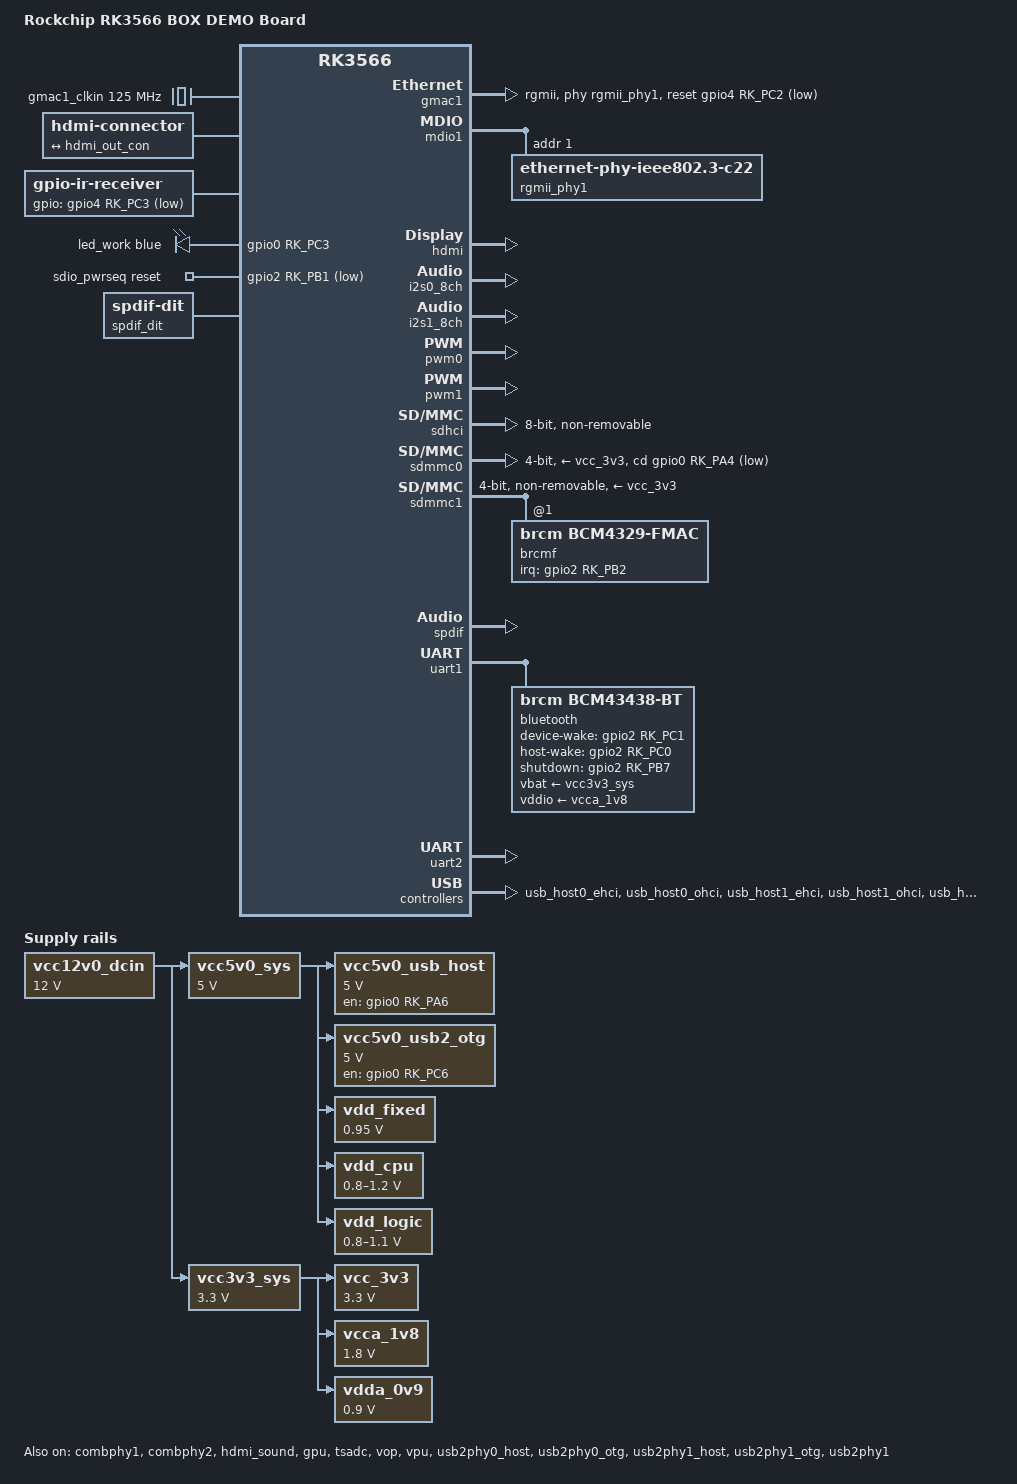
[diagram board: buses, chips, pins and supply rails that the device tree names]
// SPDX-License-Identifier: (GPL-2.0+ OR MIT)

/*
 * Author: Piotr Oniszczuk piotr.oniszczuk@gmail.com
 * Based on Quartz64 DT by: Peter Geis pgwipeout@gmail.com
 */

/dts-v1/;

#include <dt-bindings/gpio/gpio.h>
#include <dt-bindings/leds/common.h>
#include <dt-bindings/pinctrl/rockchip.h>
#include <dt-bindings/soc/rockchip,vop2.h>
#include "rk3566.dtsi"

/ {
	model = "Rockchip RK3566 BOX DEMO Board";
	compatible = "rockchip,rk3566-box-demo", "rockchip,rk3566";

	aliases {
		ethernet0 = &gmac1;
		mmc0 = &sdmmc0;
		mmc1 = &sdmmc1;
		mmc2 = &sdhci;
	};

	chosen: chosen {
		stdout-path = "serial2:1500000n8";
	};

	gmac1_clkin: external-gmac1-clock {
		compatible = "fixed-clock";
		clock-frequency = <125000000>;
		clock-output-names = "gmac1_clkin";
		#clock-cells = <0>;
	};

	hdmi-con {
		compatible = "hdmi-connector";
		type = "a";

		port {
			hdmi_con_in: endpoint {
				remote-endpoint = <&hdmi_out_con>;
			};
		};
	};

	ir-receiver {
		compatible = "gpio-ir-receiver";
		gpios = <&gpio4 RK_PC3 GPIO_ACTIVE_LOW>;
		pinctrl-0 = <&ir_int>;
		linux,rc-map-name = "rc-beelink-gs1";
		status = "okay";
	};

	leds {
		compatible = "gpio-leds";

		led_work: led-0 {
			gpios = <&gpio0 RK_PC3 GPIO_ACTIVE_HIGH>;
			function = LED_FUNCTION_HEARTBEAT;
			color = <LED_COLOR_ID_BLUE>;
			linux,default-trigger = "heartbeat";
			pinctrl-names = "default";
			pinctrl-0 = <&led_work_en>;
		};
	};

	sdio_pwrseq: sdio-pwrseq {
		status = "okay";
		compatible = "mmc-pwrseq-simple";
		clocks = <&pmucru CLK_RTC_32K>;
		clock-names = "ext_clock";
		pinctrl-names = "default";
		pinctrl-0 = <&wifi_enable_h &wifi_32k>;
		reset-gpios = <&gpio2 RK_PB1 GPIO_ACTIVE_LOW>;
	};

	spdif_dit: spdif-dit {
		compatible = "linux,spdif-dit";
		#sound-dai-cells = <0>;
	};

	spdif_sound: spdif-sound {
		compatible = "simple-audio-card";
		simple-audio-card,name = "SPDIF";

		simple-audio-card,cpu {
			sound-dai = <&spdif>;
		};

		simple-audio-card,codec {
			sound-dai = <&spdif_dit>;
		};
	};

	vcc12v0_dcin: regulator-vcc12v0-dcin {
		compatible = "regulator-fixed";
		regulator-name = "vcc12v0_dcin";
		regulator-always-on;
		regulator-boot-on;
		regulator-min-microvolt = <12000000>;
		regulator-max-microvolt = <12000000>;
	};

	vcc5v0_sys: regulator-vcc5v0-sys {
		compatible = "regulator-fixed";
		regulator-name = "vcc5v0_sys";
		regulator-always-on;
		regulator-boot-on;
		regulator-min-microvolt = <5000000>;
		regulator-max-microvolt = <5000000>;
		vin-supply = <&vcc12v0_dcin>;
	};

	vcc3v3_sys: regulator-vcc3v3-sys {
		compatible = "regulator-fixed";
		regulator-name = "vcc3v3_sys";
		regulator-always-on;
		regulator-boot-on;
		regulator-min-microvolt = <3300000>;
		regulator-max-microvolt = <3300000>;
		vin-supply = <&vcc12v0_dcin>;
	};

	vcc_3v3: regulator-vcc-3v3 {
		compatible = "regulator-fixed";
		regulator-name = "vcc_3v3";
		regulator-always-on;
		regulator-boot-on;
		regulator-min-microvolt = <3300000>;
		regulator-max-microvolt = <3300000>;
		vin-supply = <&vcc3v3_sys>;
	};

	vcc5v0_usb_host: regulator-vcc5v0-usb-host {
		compatible = "regulator-fixed";
		enable-active-high;
		gpio = <&gpio0 RK_PA6 GPIO_ACTIVE_HIGH>;
		pinctrl-names = "default";
		pinctrl-0 = <&vcc5v0_usb_host_en>;
		regulator-name = "vcc5v0_usb_host";
		regulator-min-microvolt = <5000000>;
		regulator-max-microvolt = <5000000>;
		vin-supply = <&vcc5v0_sys>;
	};

	vcc5v0_usb2_otg: regulator-vcc5v0-usb2-otg {
		compatible = "regulator-fixed";
		enable-active-high;
		gpio = <&gpio0 RK_PC6 GPIO_ACTIVE_HIGH>;
		pinctrl-names = "default";
		pinctrl-0 = <&vcc5v0_usb2_otg_en>;
		regulator-name = "vcc5v0_usb_otg";
		regulator-min-microvolt = <5000000>;
		regulator-max-microvolt = <5000000>;
		vin-supply = <&vcc5v0_sys>;
	};

	vcca_1v8: regulator-vcca-1v8 {
		compatible = "regulator-fixed";
		regulator-name = "vcca_1v8";
		regulator-always-on;
		regulator-boot-on;
		regulator-min-microvolt = <1800000>;
		regulator-max-microvolt = <1800000>;
		vin-supply = <&vcc3v3_sys>;
	};

	vdda_0v9: regulator-vdda-0v9 {
		compatible = "regulator-fixed";
		regulator-name = "vdda_0v9";
		regulator-always-on;
		regulator-boot-on;
		regulator-min-microvolt = <900000>;
		regulator-max-microvolt = <900000>;
		vin-supply = <&vcc3v3_sys>;
	};

	vdd_fixed: regulator-vdd-fixed {
		compatible = "regulator-fixed";
		regulator-name = "vdd_fixed";
		regulator-min-microvolt = <950000>;
		regulator-max-microvolt = <950000>;
		regulator-always-on;
		regulator-boot-on;
		vin-supply = <&vcc5v0_sys>;
	};

	vdd_cpu: regulator-vdd-cpu {
		compatible = "pwm-regulator";
		pwms = <&pwm0 0 5000 1>;
		regulator-name = "vdd_cpu";
		regulator-min-microvolt = <800000>;
		regulator-max-microvolt = <1200000>;
		regulator-always-on;
		regulator-boot-on;
		regulator-settling-time-up-us = <250>;
		pwm-supply = <&vcc5v0_sys>;
	};

	vdd_logic: regulator-vdd-logic {
		compatible = "pwm-regulator";
		pwms = <&pwm1 0 5000 1>;
		regulator-name = "vdd_logic";
		regulator-min-microvolt = <800000>;
		regulator-max-microvolt = <1100000>;
		regulator-always-on;
		regulator-boot-on;
		regulator-settling-time-up-us = <250>;
		pwm-supply = <&vcc5v0_sys>;
	};
};

&combphy1 {
	status = "okay";
};

&combphy2 {
	status = "okay";
};

&cpu0 {
	cpu-supply = <&vdd_cpu>;
};

&cpu1 {
	cpu-supply = <&vdd_cpu>;
};

&cpu2 {
	cpu-supply = <&vdd_cpu>;
};

&cpu3 {
	cpu-supply = <&vdd_cpu>;
};

&gmac1 {
	assigned-clocks = <&cru SCLK_GMAC1_RX_TX>, <&cru SCLK_GMAC1>;
	assigned-clock-parents =  <&cru SCLK_GMAC1_RGMII_SPEED>, <&gmac1_clkin>;
	phy-mode = "rgmii";
	clock_in_out = "input";
	pinctrl-names = "default";
	pinctrl-0 = <&gmac1m1_miim
		    &gmac1m1_tx_bus2
		    &gmac1m1_rx_bus2
		    &gmac1m1_rgmii_clk
		    &gmac1m1_rgmii_bus
		    &gmac1m1_clkinout>;
	snps,reset-gpio = <&gpio4 RK_PC2 GPIO_ACTIVE_LOW>;
	snps,reset-active-low;
	/* Reset time is 20ms, 100ms for rtl8211f */
	snps,reset-delays-us = <0 20000 100000>;

	tx_delay = <0x4f>;
	rx_delay = <0x2d>;
	phy-handle = <&rgmii_phy1>;
	status = "okay";
};

&mdio1 {
	rgmii_phy1: ethernet-phy@1 {
		compatible = "ethernet-phy-ieee802.3-c22";
		reg = <0x1>;
	};
};

&hdmi {
	assigned-clocks = <&cru CLK_HDMI_CEC>;
	assigned-clock-rates = <32768>;
	avdd-0v9-supply = <&vdda_0v9>;
	avdd-1v8-supply = <&vcca_1v8>;
	status = "okay";
};

&hdmi_in {
	hdmi_in_vp0: endpoint {
		remote-endpoint = <&vp0_out_hdmi>;
	};
};

&hdmi_out {
	hdmi_out_con: endpoint {
		remote-endpoint = <&hdmi_con_in>;
	};
};

&hdmi_sound {
	status = "okay";
};

&gpu {
	status = "okay";
};

&i2s0_8ch {
	status = "okay";
};

&i2s1_8ch {
	rockchip,trcm-sync-tx-only;
	status = "okay";
};

&pinctrl {
	bt {
		bt_enable_h: bt-enable-h {
			rockchip,pins = <2 RK_PB7 RK_FUNC_GPIO &pcfg_pull_none>;
		};

		bt_host_wake_l: bt-host-wake-l {
			rockchip,pins = <2 RK_PC0 RK_FUNC_GPIO &pcfg_pull_down>;
		};

		bt_wake_l: bt-wake-l {
			rockchip,pins = <2 RK_PC1 RK_FUNC_GPIO &pcfg_pull_none>;
		};
	};

	sdio-pwrseq {
		wifi_enable_h: wifi-enable-h {
			rockchip,pins = <2 RK_PB1 RK_FUNC_GPIO &pcfg_pull_none>;
		};

		wifi_host_wake_h: wifi-host-wake-l {
			rockchip,pins = <2 RK_PB2 RK_FUNC_GPIO &pcfg_pull_none>;
		};

		wifi_32k: wifi-32k {
			rockchip,pins = <2 RK_PC6 1 &pcfg_pull_none>;
		};
	};

	usb {
		vcc5v0_usb_host_en: vcc5v0_usb_host_en {
			rockchip,pins = <0 RK_PA6 RK_FUNC_GPIO &pcfg_pull_none>;
		};

		vcc5v0_usb2_otg_en: vcc5v0_usb2_otg_en {
			rockchip,pins = <0 RK_PC6 RK_FUNC_GPIO &pcfg_pull_none>;
		};

	};

	ir {
		ir_int: ir-int {
			rockchip,pins = <4 RK_PC3 RK_FUNC_GPIO &pcfg_pull_none>;
		};
	};

	led {
		led_work_en: led_work_en {
			rockchip,pins = <0 RK_PC3 RK_FUNC_GPIO &pcfg_pull_none>;
		};
	};
};

&pmu_io_domains {
	pmuio2-supply = <&vcc_3v3>;
	vccio1-supply = <&vcc_3v3>;
	vccio3-supply = <&vcc_3v3>;
	vccio4-supply = <&vcca_1v8>;
	vccio5-supply = <&vcc_3v3>;
	vccio6-supply = <&vcca_1v8>;
	vccio7-supply = <&vcc_3v3>;
	status = "okay";
};

&pwm0 {
	status = "okay";
};

&pwm1 {
	status = "okay";
};

&sdhci {
	bus-width = <8>;
	mmc-hs200-1_8v;
	non-removable;
	status = "okay";
};

&sdmmc0 {
	bus-width = <4>;
	cap-sd-highspeed;
	cd-gpios = <&gpio0 RK_PA4 GPIO_ACTIVE_LOW>;
	disable-wp;
	pinctrl-names = "default";
	pinctrl-0 = <&sdmmc0_bus4 &sdmmc0_clk &sdmmc0_cmd &sdmmc0_det>;
	vmmc-supply = <&vcc_3v3>;
	status = "okay";
};

&sdmmc1 {
	/* WiFi & BT combo module AMPAK AP6398S */
	#address-cells = <1>;
	#size-cells = <0>;
	bus-width = <4>;
	clock-frequency = <150000000>;
	cap-sdio-irq;
	cap-sd-highspeed;
	sd-uhs-sdr104;
	keep-power-in-suspend;
	mmc-pwrseq = <&sdio_pwrseq>;
	non-removable;
	pinctrl-names = "default";
	pinctrl-0 = <&sdmmc1_bus4 &sdmmc1_cmd &sdmmc1_clk>;
	vmmc-supply = <&vcc_3v3>;
	vqmmc-supply = <&vcca_1v8>;
	status = "okay";

	brcmf: wifi@1 {
		compatible = "brcm,bcm4329-fmac";
		reg = <1>;
		interrupt-parent = <&gpio2>;
		interrupts = <RK_PB2 GPIO_ACTIVE_HIGH>;
		interrupt-names = "host-wake";
		pinctrl-names = "default";
		pinctrl-0 = <&wifi_host_wake_h>;
	};
};

&spdif {
	status = "okay";
};

&spi1 {
	pinctrl-names = "default";
	pinctrl-0 = <&spi1m1_cs0 &spi1m1_pins>;
};

&tsadc {
	/* tshut mode 0:CRU 1:GPIO */
	rockchip,hw-tshut-mode = <1>;
	/* tshut polarity 0:LOW 1:HIGH */
	rockchip,hw-tshut-polarity = <0>;
	status = "okay";
};

&uart1 {
	pinctrl-names = "default";
	pinctrl-0 = <&uart1m0_xfer &uart1m0_ctsn>;
	status = "okay";
	uart-has-rtscts;

	bluetooth {
		compatible = "brcm,bcm43438-bt";
		clocks = <&pmucru CLK_RTC_32K>;
		clock-names = "ext_clock";
		device-wake-gpios = <&gpio2 RK_PC1 GPIO_ACTIVE_HIGH>;
		host-wake-gpios = <&gpio2 RK_PC0 GPIO_ACTIVE_HIGH>;
		shutdown-gpios = <&gpio2 RK_PB7 GPIO_ACTIVE_HIGH>;
		pinctrl-names = "default";
		pinctrl-0 = <&bt_host_wake_l &bt_wake_l &bt_enable_h>;
		vbat-supply = <&vcc3v3_sys>;
		vddio-supply = <&vcca_1v8>;
	};
};

&uart2 {
	status = "okay";
};

&vop {
	assigned-clocks = <&cru DCLK_VOP0>, <&cru DCLK_VOP1>;
	assigned-clock-parents = <&pmucru PLL_HPLL>, <&cru PLL_VPLL>;
	status = "okay";
};

&vop_mmu {
	status = "okay";
};

&vp0 {
	vp0_out_hdmi: endpoint@ROCKCHIP_VOP2_EP_HDMI0 {
		reg = <ROCKCHIP_VOP2_EP_HDMI0>;
		remote-endpoint = <&hdmi_in_vp0>;
	};
};

&vpu {
	status = "okay";
};

&vdpu_mmu {
	status = "okay";
};

&usb2phy0_host {
	phy-supply = <&vcc5v0_usb_host>;
	status = "okay";
};

&usb2phy0_otg {
	vbus-supply = <&vcc5v0_usb2_otg>;
	status = "okay";
};

&usb2phy1_host {
	phy-supply = <&vcc5v0_usb_host>;
	status = "okay";
};

&usb2phy1_otg {
	phy-supply = <&vcc5v0_usb_host>;
	status = "okay";
};

&usb2phy1 {
	status = "okay";
};

&usb_host0_ehci {
	status = "okay";
};

&usb_host0_ohci {
	status = "okay";
};

&usb_host1_ehci {
	status = "okay";
};

&usb_host1_ohci {
	status = "okay";
};

&usb_host1_xhci {
	status = "okay";
};
